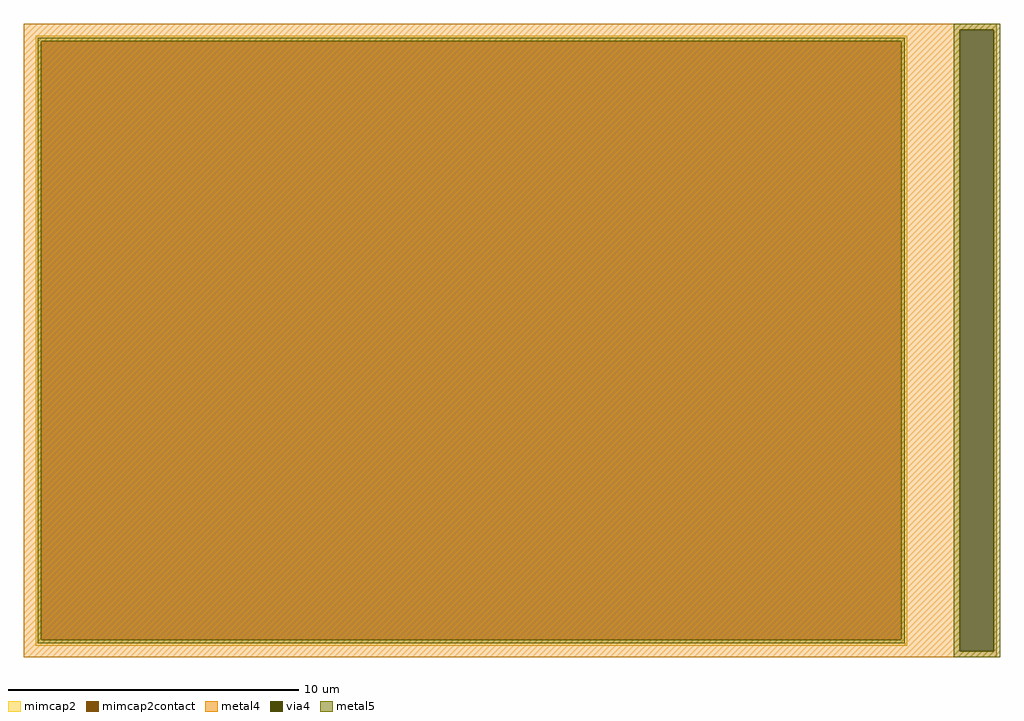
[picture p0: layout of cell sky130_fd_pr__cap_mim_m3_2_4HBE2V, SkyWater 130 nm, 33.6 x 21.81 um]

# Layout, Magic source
magic
tech sky130A
magscale 1 2
<< metal4 >>
rect -3349 2139 3349 2180
rect -3349 -2139 3093 2139
rect 3329 -2139 3349 2139
rect -3349 -2180 3349 -2139
<< via4 >>
rect 3093 -2139 3329 2139
<< mimcap2 >>
rect -3269 2060 2731 2100
rect -3269 -2060 -3229 2060
rect 2691 -2060 2731 2060
rect -3269 -2100 2731 -2060
<< mimcap2contact >>
rect -3229 -2060 2691 2060
<< metal5 >>
rect 3051 2139 3371 2181
rect -3253 2060 2715 2084
rect -3253 -2060 -3229 2060
rect 2691 -2060 2715 2060
rect -3253 -2084 2715 -2060
rect 3051 -2139 3093 2139
rect 3329 -2139 3371 2139
rect 3051 -2181 3371 -2139
<< properties >>
string FIXED_BBOX -3349 -2180 2811 2180
string gencell sky130_fd_pr__cap_mim_m3_2
string library sky130
string parameters w 30.0 l 21.0 val 1.279k carea 2.00 cperi 0.19 nx 1 ny 1 dummy 0 square 0 lmin 2.00 wmin 2.00 lmax 30.0 wmax 30.0 dc 0 bconnect 1 tconnect 1 ccov 100
<< end >>
